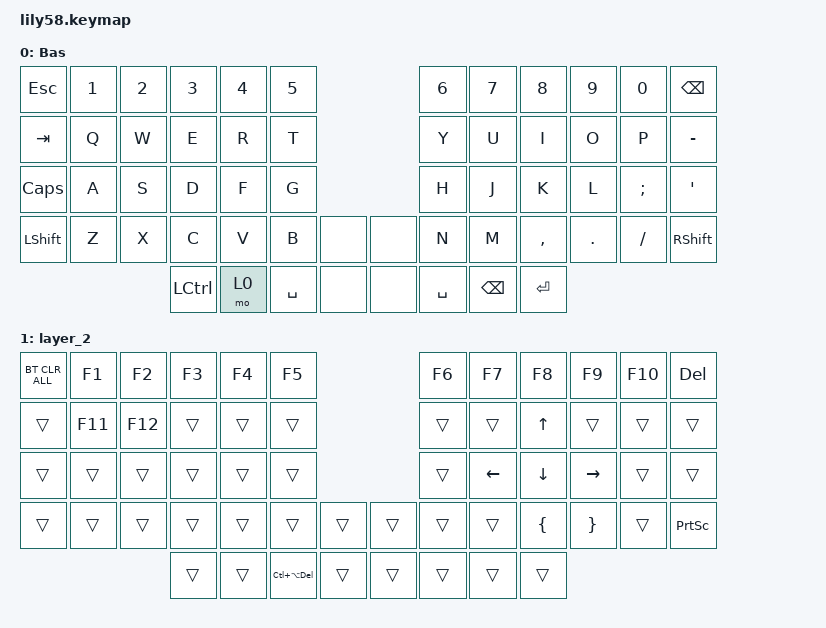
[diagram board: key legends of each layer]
/*
 * Copyright (c) 2020 The ZMK Contributors
 *
 * SPDX-License-Identifier: MIT
 */

#include <behaviors.dtsi>
#include <dt-bindings/zmk/bt.h>
#include <dt-bindings/zmk/keys.h>

/ {
    keymap {
        compatible = "zmk,keymap";

        default_layer {
            // ------------------------------------------------------------------------------------------------------------
            // |  ESC  |  1  |  2  |  3   |  4   |  5   |                   |  6   |  7    |  8    |  9   |   0   |   `   |
            // |  TAB  |  Q  |  W  |  E   |  R   |  T   |                   |  Y   |  U    |  I    |  O   |   P   |   -   |
            // |  CTRL |  A  |  S  |  D   |  F   |  G   |                   |  H   |  J    |  K    |  L   |   ;   |   '   |
            // | SHIFT |  Z  |  X  |  C   |  V   |  B   |   "["  |  |  "]"  |  N   |  M    |  ,    |  .   |   /   | SHIFT |
            //                     | ALT  | GUI  | LOWER|  SPACE |  | ENTER | RAISE| BSPC  | GUI   |

            display-name = "Bas";
            bindings = <
&kp ESC    &kp N1  &kp N2  &kp N3            &kp N4  &kp N5                     &kp N6     &kp N7    &kp N8     &kp N9   &kp N0    &kp BACKSPACE
&kp TAB    &kp Q   &kp W   &kp E             &kp R   &kp T                      &kp Y      &kp U     &kp I      &kp O    &kp P     &kp MINUS
&kp CLCK   &kp A   &kp S   &kp D             &kp F   &kp G                      &kp H      &kp J     &kp K      &kp L    &kp SEMI  &kp SQT
&kp LSHFT  &kp Z   &kp X   &kp C             &kp V   &kp B      &none    &none  &kp N      &kp M     &kp COMMA  &kp DOT  &kp FSLH  &kp RSHFT
                           &kp LEFT_CONTROL  &mo 0   &kp SPACE  &none    &none  &kp SPACE  &kp BSPC  &kp ENTER
            >;
        };

        layer_2 {
            bindings = <
&bt BT_CLR_ALL  &kp F1   &kp F2   &kp F3  &kp F4  &kp F5                             &kp F6  &kp F7    &kp F8          &kp F9           &kp F10  &kp DEL
&trans          &kp F11  &kp F12  &trans  &trans  &trans                             &trans  &trans    &kp UP_ARROW    &trans           &trans   &trans
&trans          &trans   &trans   &trans  &trans  &trans                             &trans  &kp LEFT  &kp DOWN        &kp RIGHT        &trans   &trans
&trans          &trans   &trans   &trans  &trans  &trans           &trans    &trans  &trans  &trans    &kp LEFT_BRACE  &kp RIGHT_BRACE  &trans   &kp PRINTSCREEN
                                  &trans  &trans  &kp LC(LA(DEL))  &trans    &trans  &trans  &trans    &trans
            >;
        };
    };
};
